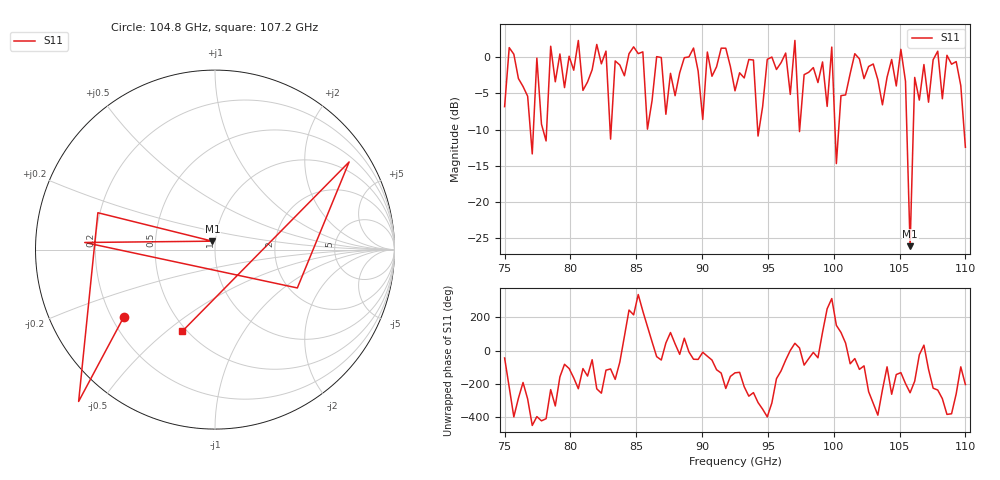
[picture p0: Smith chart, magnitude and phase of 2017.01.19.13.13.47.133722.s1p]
!Created with skrf (http://scikit-rf.org).
# GHz S RI R 50.0
!freq ReS11 ImS11
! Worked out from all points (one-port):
!   101 points, 75 GHz to 110 GHz, reference 50 ohm
!   lowest |S11| = -26.2 dB at 105.8 GHz (marker M1), VSWR 1.10, Z = 48.4 + j4.55 ohm
!   |S11| at or under -10 dB: 76.95223 GHz to 77.189 GHz (236.8 MHz wide, 0.307 % of centre); 77.9126 GHz to 78.19214 GHz (279.5 MHz wide, 0.358 % of centre); 83.01187 GHz to 83.09293 GHz (81.05 MHz wide, 0.0976 % of centre) (the widest 3 of 8)
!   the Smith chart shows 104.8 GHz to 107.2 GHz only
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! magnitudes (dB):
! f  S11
! 75 GHz  -6.8
! 75.35 GHz  1.4
! 77.1 GHz  -13.4
! 77.45 GHz  -0.1
! 78.15 GHz  -11.6
! 78.5 GHz  1.6
! 79.55 GHz  -4.2
! 82.7 GHz  0.9
! 83.05 GHz  -11.3
! 83.75 GHz  -1.0
! 85.5 GHz  0.8
! 85.85 GHz  -9.9
! 86.55 GHz  0.1
! 88.3 GHz  -2.1
! 92.5 GHz  -4.6
! 93.9 GHz  -0.4
! 94.25 GHz  -10.9
! 97.05 GHz  2.4
! 97.4 GHz  -10.3
! 99.85 GHz  1.4
! 100.2 GHz  -14.7
! 101.2 GHz  -2.2
! 105.1 GHz  1.1
! 105.5 GHz  -3.3
! 105.8 GHz  -26.2
! 106.2 GHz  -2.8
! 109.3 GHz  -0.6
! 110 GHz  -12.5
